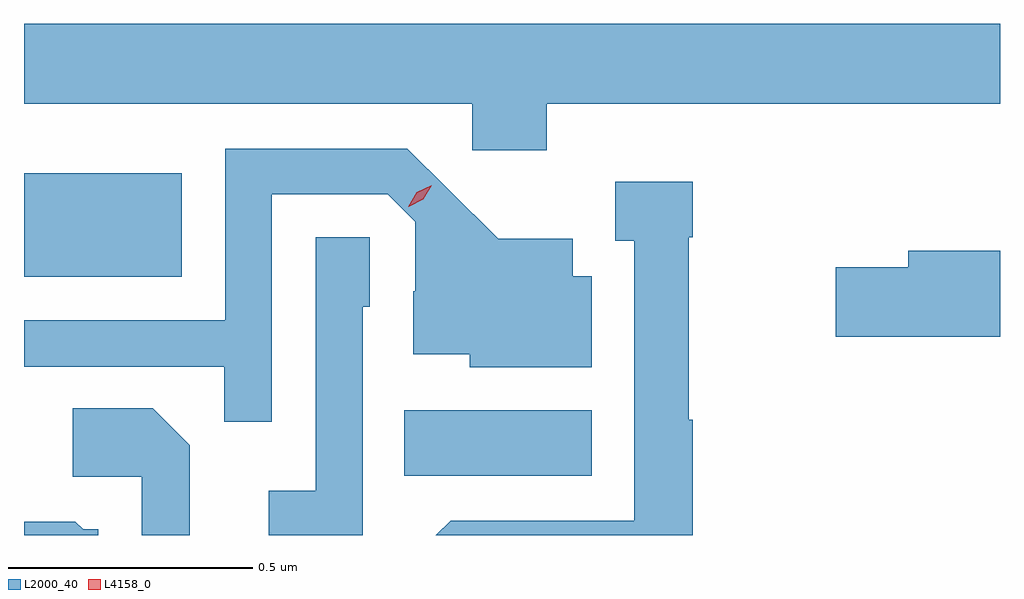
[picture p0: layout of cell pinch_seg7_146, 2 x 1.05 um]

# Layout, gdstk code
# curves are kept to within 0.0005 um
import gdstk
lib = gdstk.Library(unit=1e-6, precision=1e-09)
def R(c, l, rs):  # rectangles x0, y0, x1, y1
    for r in rs: c.add(gdstk.rectangle(r[:2], r[2:], *l))
def P(c, l, *ps):  # polygons
    for p in ps: c.add(gdstk.Polygon(p, *l))
L2000_40 = (2000, 40)
L4158_0 = (4158, 0)

pinch_seg7_146 = lib.new_cell('pinch_seg7_146')
R(pinch_seg7_146, L2000_40, [(1030.474,1009.178,1030.858,1009.312), (1029.695,1009.586,1030.018,1009.798)])
P(pinch_seg7_146, L2000_40, [(1030.766,1009.94),(1031.695,1009.94),(1031.695,1010.104),(1029.695,1010.104),(1029.695,1009.94),(1030.614,1009.94),(1030.614,1009.845),(1030.766,1009.845)],
  [(1030.203,1009.755),(1030.44,1009.755),(1030.497,1009.698),(1030.497,1009.556),(1030.493,1009.556),(1030.493,1009.427),(1030.608,1009.427),(1030.608,1009.4),(1030.858,1009.4),(1030.858,1009.587),(1030.819,1009.587),(1030.819,1009.663),(1030.667,1009.663),(1030.48,1009.848),(1030.107,1009.848),(1030.107,1009.497),(1029.695,1009.497),(1029.695,1009.401),(1030.105,1009.401),(1030.105,1009.288),(1030.203,1009.288)],
  [(1031.065,1009.293),(1031.057,1009.293),(1031.057,1009.667),(1031.065,1009.667),(1031.065,1009.78),(1030.907,1009.78),(1030.907,1009.659),(1030.946,1009.659),(1030.946,1009.086),(1030.569,1009.086),(1030.539,1009.056),(1031.065,1009.056)],
  [(1030.389,1009.524),(1030.404,1009.524),(1030.404,1009.667),(1030.293,1009.667),(1030.293,1009.147),(1030.197,1009.147),(1030.197,1009.056),(1030.389,1009.056)],
  [(1031.695,1009.639),(1031.507,1009.639),(1031.507,1009.605),(1031.358,1009.605),(1031.358,1009.463),(1031.695,1009.463)],
  [(1030.035,1009.24),(1029.959,1009.316),(1029.795,1009.316),(1029.795,1009.176),(1029.936,1009.176),(1029.936,1009.056),(1030.035,1009.056)],
  [(1029.847,1009.068),(1029.816,1009.068),(1029.8,1009.084),(1029.695,1009.084),(1029.695,1009.056),(1029.847,1009.056)])
P(pinch_seg7_146, L4158_0, [(1030.482,1009.729),(1030.482,1009.729),(1030.5,1009.759),(1030.531,1009.773),(1030.531,1009.773),(1030.531,1009.773),(1030.513,1009.744),(1030.483,1009.729)])

lib.write_gds('pinch_seg7_146.gds')
